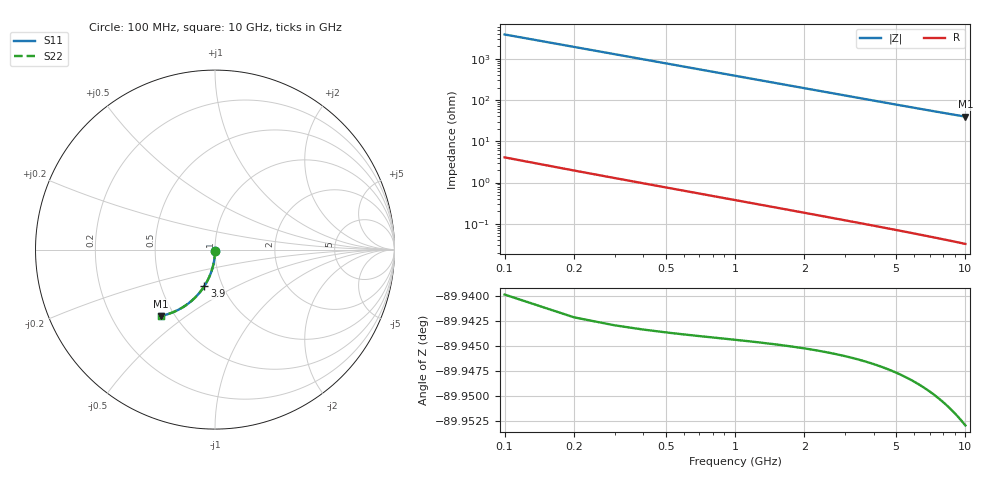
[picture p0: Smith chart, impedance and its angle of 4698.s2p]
# Hz S RI R 50.00
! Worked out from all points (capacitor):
!   100 points, 100 MHz to 10 GHz, reference 50 ohm
!   read as one part in shunt: C = 410 fF near 100 MHz
!   lowest |Z| = 39.7 ohm at 10 GHz (marker M1)
!   S11 on the Smith chart (normalised r, x): 100 MHz: 1.00, -0.01; 3.9 GHz: 0.82, -0.35; 10 GHz: 0.42, -0.40
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1e8  0.000177 -0.00554  0.9997 -0.00733  0.9997 -0.00733  0.000177 -0.00554
2e8  5e-05 -0.0111  0.9996 -0.0147  0.9996 -0.0147  5e-05 -0.0111
3e8  -0.000158 -0.0166  0.9994 -0.022  0.9994 -0.022  -0.000158 -0.0166
4e8  -0.000447 -0.0221  0.9991 -0.0293  0.9991 -0.0293  -0.000447 -0.0221
5e8  -0.000818 -0.0277  0.9987 -0.0366  0.9987 -0.0366  -0.000818 -0.0277
6e8  -0.00127 -0.0332  0.9982 -0.0439  0.9982 -0.0439  -0.00127 -0.0332
7e8  -0.0018 -0.0387  0.9977 -0.0512  0.9977 -0.0512  -0.0018 -0.0387
8e8  -0.00241 -0.0442  0.997 -0.0585  0.997 -0.0585  -0.00241 -0.0442
9e8  -0.00311 -0.0497  0.9963 -0.0658  0.9963 -0.0658  -0.00311 -0.0497
1.1e9  -0.00474 -0.0606  0.9946 -0.0803  0.9946 -0.0803  -0.00474 -0.0606
1.4e9  -0.00777 -0.0769  0.9914 -0.102  0.9914 -0.102  -0.00777 -0.0769
1.8e9  -0.0129 -0.0984  0.9861 -0.1307  0.9861 -0.1307  -0.0129 -0.0984
2.1e9  -0.0176 -0.1143  0.9812 -0.1519  0.9812 -0.1519  -0.0176 -0.1143
2.5e9  -0.0249 -0.135  0.9737 -0.1799  0.9737 -0.1799  -0.0249 -0.135
2.9e9  -0.0333 -0.1552  0.9649 -0.2073  0.9649 -0.2073  -0.0333 -0.1552
3.4e9  -0.0453 -0.1795  0.9523 -0.2407  0.9523 -0.2407  -0.0453 -0.1795
3.9e9  -0.059 -0.2028  0.938 -0.273  0.938 -0.273  -0.059 -0.2028
5.1e9  -0.0976 -0.2533  0.8977 -0.3456  0.8977 -0.3456  -0.0976 -0.2533
5.9e9  -0.127 -0.2824  0.8668 -0.3895  0.8668 -0.3895  -0.127 -0.2824
6.7e9  -0.1587 -0.3076  0.8334 -0.4295  0.8334 -0.4295  -0.1587 -0.3076
8.4e9  -0.2306 -0.3476  0.7569 -0.5017  0.7569 -0.5017  -0.2306 -0.3476
1e10  -0.3003 -0.3692  0.6819 -0.5541  0.6819 -0.5541  -0.3003 -0.3692
